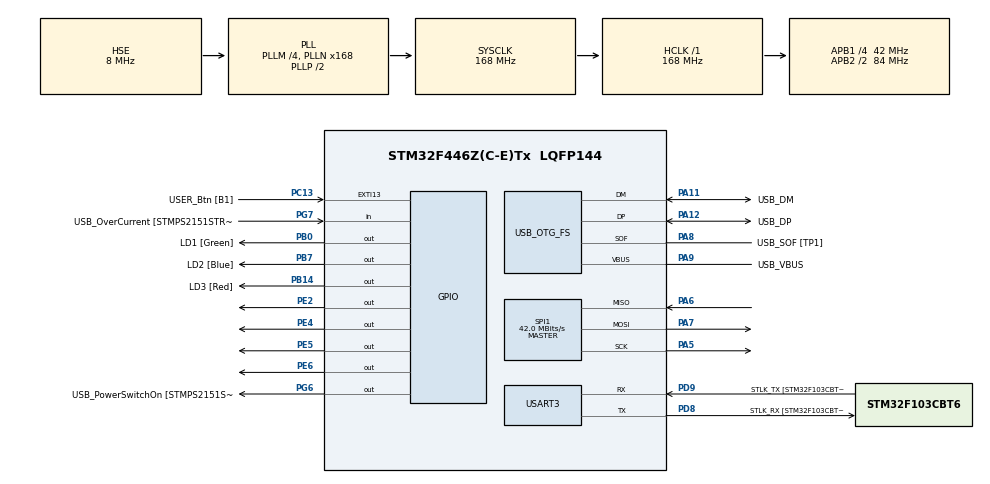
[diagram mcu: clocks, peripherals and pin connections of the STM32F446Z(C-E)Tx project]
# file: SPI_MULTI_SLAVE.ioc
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Dma.Request0=SPI1_RX
Dma.Request1=SPI1_TX
Dma.SPI1_RX.0.Direction=DMA_PERIPH_TO_MEMORY
Dma.SPI1_RX.0.FIFOMode=DMA_FIFOMODE_DISABLE
Dma.SPI1_RX.0.Instance=DMA2_Stream0
Dma.SPI1_RX.0.MemDataAlignment=DMA_MDATAALIGN_BYTE
Dma.SPI1_RX.0.MemInc=DMA_MINC_ENABLE
Dma.SPI1_RX.0.Mode=DMA_NORMAL
Dma.SPI1_RX.0.PeriphDataAlignment=DMA_PDATAALIGN_BYTE
Dma.SPI1_RX.0.PeriphInc=DMA_PINC_DISABLE
Dma.SPI1_RX.0.Priority=DMA_PRIORITY_LOW
Dma.SPI1_TX.1.Direction=DMA_MEMORY_TO_PERIPH
Dma.SPI1_TX.1.FIFOMode=DMA_FIFOMODE_DISABLE
Dma.SPI1_TX.1.Instance=DMA2_Stream3
Dma.SPI1_TX.1.MemDataAlignment=DMA_MDATAALIGN_BYTE
Dma.SPI1_TX.1.MemInc=DMA_MINC_ENABLE
Dma.SPI1_TX.1.Mode=DMA_NORMAL
Dma.SPI1_TX.1.PeriphDataAlignment=DMA_PDATAALIGN_BYTE
Dma.SPI1_TX.1.PeriphInc=DMA_PINC_DISABLE
Dma.SPI1_TX.1.Priority=DMA_PRIORITY_LOW
Mcu.Family=STM32F4
Mcu.Name=STM32F446Z(C-E)Tx
Mcu.Package=LQFP144
NVIC.DMA2_Stream0_IRQn=true\:0\:0\:false\:false\:true\:false\:true\:true
NVIC.DMA2_Stream3_IRQn=true\:0\:0\:false\:false\:true\:false\:true\:true
NVIC.PriorityGroup=NVIC_PRIORITYGROUP_4
PA10.GPIO_Label=USB_ID
PA10.Signal=USB_OTG_FS_ID
PA11.GPIO_Label=USB_DM
PA11.Mode=Device_Only
PA11.Signal=USB_OTG_FS_DM
PA12.GPIO_Label=USB_DP
PA12.Mode=Device_Only
PA12.Signal=USB_OTG_FS_DP
PA13.GPIO_Label=TMS
PA13.Mode=Serial_Wire
PA13.Signal=SYS_JTMS-SWDIO
PA14.GPIO_Label=TCK
PA14.Mode=Serial_Wire
PA14.Signal=SYS_JTCK-SWCLK
PA5.Mode=Full_Duplex_Master
PA5.Signal=SPI1_SCK
PA6.Mode=Full_Duplex_Master
PA6.Signal=SPI1_MISO
PA7.Mode=Full_Duplex_Master
PA7.Signal=SPI1_MOSI
PA8.GPIO_Label=USB_SOF [TP1]
PA8.Mode=Activate_SOF_FS
PA8.Signal=USB_OTG_FS_SOF
PA9.GPIO_Label=USB_VBUS
PA9.Mode=Activate_VBUS
PA9.Signal=USB_OTG_FS_VBUS
PB0.GPIO_Label=LD1 [Green]
PB0.Signal=GPIO_Output
PB14.GPIO_Label=LD3 [Red]
PB14.Signal=GPIO_Output
PB7.GPIO_Label=LD2 [Blue]
PB7.Signal=GPIO_Output
PC13.GPIO_Label=USER_Btn [B1]
PC13.Signal=GPXTI13
PC14-OSC32_IN.Mode=LSE-External-Oscillator
PC14-OSC32_IN.Signal=RCC_OSC32_IN
PC15-OSC32_OUT.Mode=LSE-External-Oscillator
PC15-OSC32_OUT.Signal=RCC_OSC32_OUT
PD8.GPIO_Label=STLK_RX [STM32F103CBT6_PA3]
PD8.Mode=Asynchronous
PD8.Signal=USART3_TX
PD9.GPIO_Label=STLK_TX [STM32F103CBT6_PA2]
PD9.Mode=Asynchronous
PD9.Signal=USART3_RX
PE2.Signal=GPIO_Output
PE4.Signal=GPIO_Output
PE5.Signal=GPIO_Output
PE6.Signal=GPIO_Output
PG6.GPIO_Label=USB_PowerSwitchOn [STMPS2151STR_EN]
PG6.Signal=GPIO_Output
PG7.GPIO_Label=USB_OverCurrent [STMPS2151STR_FAULT]
PG7.Signal=GPIO_Input
PH0-OSC_IN.GPIO_Label=MCO [STM32F103CBT6_PA8]
PH0-OSC_IN.Mode=HSE-External-Clock-Source
PH0-OSC_IN.Signal=RCC_OSC_IN
PH1-OSC_OUT.Mode=HSE-External-Clock-Source
PH1-OSC_OUT.Signal=RCC_OSC_OUT
ProjectManager.HeapSize=0x200
ProjectManager.StackSize=0x400
ProjectManager.TargetToolchain=STM32CubeIDE
RCC.48MHZClocksFreq_Value=24000000
RCC.AHBFreq_Value=168000000
RCC.APB1CLKDivider=RCC_HCLK_DIV4
RCC.APB1Freq_Value=42000000
RCC.APB1TimFreq_Value=84000000
RCC.APB2CLKDivider=RCC_HCLK_DIV2
RCC.APB2Freq_Value=84000000
RCC.APB2TimFreq_Value=168000000
RCC.CortexFreq_Value=168000000
RCC.HCLKFreq_Value=168000000
RCC.HSE_VALUE=8000000
RCC.HSI_VALUE=16000000
RCC.PLLM=4
RCC.PLLMUL=RCC_PLL_MUL9
RCC.PLLN=168
RCC.PLLQ=7
RCC.PRESCALERUSB=RCC_USBCLKSOURCE_PLL_DIV1_5
RCC.SYSCLKFreq_VALUE=168000000
RCC.SYSCLKSource=RCC_SYSCLKSOURCE_PLLCLK
RCC.SYSCLKSourceVirtual=RCC_SYSCLKSOURCE_PLLCLK
RCC.USBFreq_Value=48000000
RCC.VCOOutputFreq_Value=336000000
SPI1.CalculateBaudRate=42.0 MBits/s
SPI1.Direction=SPI_DIRECTION_2LINES
SPI1.Mode=SPI_MODE_MASTER
SPI1.VirtualType=VM_MASTER
USART3.VirtualMode=VM_ASYNC
USB_OTG_FS.VirtualMode=Device_Only
board=NUCLEO-F446ZE

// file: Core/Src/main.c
/* USER CODE BEGIN Header */
/**
  ******************************************************************************
  * @file           : main.c
  * @brief          : Main program body
  ******************************************************************************
  * @attention
  *
  * Copyright (c) 2025 STMicroelectronics.
  * All rights reserved.
  *
  * This software is licensed under terms that can be found in the LICENSE file
  * in the root directory of this software component.
  * If no LICENSE file comes with this software, it is provided AS-IS.
  *
  ******************************************************************************
  */
/* USER CODE END Header */
#include "main.h"

/* USER CODE BEGIN PD */

// SPI1 片选引脚：PE2 / PE4 / PE5 / PE6
#define SPI_CS_GPIO_PORT   GPIOE
#define SPI_CS1_PIN        GPIO_PIN_2   // Slave 1
#define SPI_CS2_PIN        GPIO_PIN_4   // Slave 2
#define SPI_CS3_PIN        GPIO_PIN_5   // Slave 3
#define SPI_CS4_PIN        GPIO_PIN_6   // Slave 4

typedef enum
{
    SPI_SLAVE_1 = 0,
    SPI_SLAVE_2,
    SPI_SLAVE_3,
    SPI_SLAVE_4
} spi_slave_t;

uint8_t txBuf[2] = {0x9a,0x9a};
uint8_t rxBuf = 0;

/* USER CODE END PD */

SPI_HandleTypeDef hspi1;
DMA_HandleTypeDef hdma_spi1_rx;
DMA_HandleTypeDef hdma_spi1_tx;

UART_HandleTypeDef huart3;

PCD_HandleTypeDef hpcd_USB_OTG_FS;

/* USER CODE BEGIN PV */

volatile uint8_t spi_busy        = 0;  // 1 = 正在进行 DMA 传输
volatile uint8_t spi_tx_done     = 0;  // 仅 TX 完成标志
volatile uint8_t spi_txrx_done   = 0;  // TX+RX 完成标志
spi_slave_t      spi_current_slave;    // 当前选中的从机

/* USER CODE END PV */

void SystemClock_Config(void);
static void MX_GPIO_Init(void);
static void MX_DMA_Init(void);
static void MX_USART3_UART_Init(void);
static void MX_USB_OTG_FS_PCD_Init(void);
static void MX_SPI1_Init(void);

/* USER CODE BEGIN 0 */

static void SPI_Deselect_All(void)
{
    HAL_GPIO_WritePin(SPI_CS_GPIO_PORT,
                      SPI_CS1_PIN | SPI_CS2_PIN | SPI_CS3_PIN | SPI_CS4_PIN,
                      GPIO_PIN_SET);
}

static void SPI_Select_Slave(spi_slave_t slave)
{
    SPI_Deselect_All();

    switch (slave)
    {
    case SPI_SLAVE_1:
        HAL_GPIO_WritePin(SPI_CS_GPIO_PORT, SPI_CS1_PIN, GPIO_PIN_RESET);
        break;
    case SPI_SLAVE_2:
        HAL_GPIO_WritePin(SPI_CS_GPIO_PORT, SPI_CS2_PIN, GPIO_PIN_RESET);
        break;
    case SPI_SLAVE_3:
        HAL_GPIO_WritePin(SPI_CS_GPIO_PORT, SPI_CS3_PIN, GPIO_PIN_RESET);
        break;
    case SPI_SLAVE_4:
        HAL_GPIO_WritePin(SPI_CS_GPIO_PORT, SPI_CS4_PIN, GPIO_PIN_RESET);
        break;
    default:
        break;
    }
}

HAL_StatusTypeDef SPI_Transfer_To_DMA(spi_slave_t slave,
                                      uint8_t *pTxData,
                                      uint8_t *pRxData,
                                      uint16_t Size)
{
    if (spi_busy)
        return HAL_BUSY;

    spi_busy        = 1;
    spi_tx_done     = 0;
    spi_txrx_done   = 0;
    spi_current_slave = slave;

    SPI_Select_Slave(slave);

    HAL_StatusTypeDef status =
        HAL_SPI_TransmitReceive_DMA(&hspi1, pTxData, pRxData, Size);

    if (status != HAL_OK)
    {
        SPI_Deselect_All();
        spi_busy = 0;
    }

    return status;
}

void HAL_SPI_TxRxCpltCallback(SPI_HandleTypeDef *hspi)
{
    if (hspi->Instance == SPI1)
    {
        SPI_Deselect_All();
        spi_busy      = 0;
        spi_txrx_done = 1;

        // 先关掉所有灯
        HAL_GPIO_WritePin(GPIOB, LD1_Pin | LD2_Pin | LD3_Pin, GPIO_PIN_RESET);

        // 用当前从机编号来点灯，先不管 rxBuf 收到了什么
        if (spi_current_slave == SPI_SLAVE_1)
        {
            // 从机1 → 绿灯
            HAL_GPIO_WritePin(GPIOB, LD1_Pin, GPIO_PIN_SET);
        }
        else if (spi_current_slave == SPI_SLAVE_2)
        {
            // 从机2 → 蓝灯
            HAL_GPIO_WritePin(GPIOB, LD2_Pin, GPIO_PIN_SET);
        }
        else
        {
            // 其他（理论上现在不会发生）→ 红灯
            HAL_GPIO_WritePin(GPIOB, LD3_Pin, GPIO_PIN_SET);
        }
    }
}

// 错误处理（比如溢出、仲裁丢失等）
void HAL_SPI_ErrorCallback(SPI_HandleTypeDef *hspi)
{
    if (hspi->Instance == SPI1)
    {
        SPI_Deselect_All();
        spi_busy      = 0;
        spi_tx_done   = 0;
        spi_txrx_done = 0;
    }
}

/* USER CODE END 0 */

int main(void)
{

  /* MCU Configuration--------------------------------------------------------*/

  /* Reset of all peripherals, Initializes the Flash interface and the Systick. */
  HAL_Init();

  /* Configure the system clock */
  SystemClock_Config();

  /* Initialize all configured peripherals */
  MX_GPIO_Init();
  MX_DMA_Init();
  MX_USART3_UART_Init();
  MX_USB_OTG_FS_PCD_Init();
  MX_SPI1_Init();
  /* USER CODE BEGIN 2 */

  SPI_Deselect_All();

  /* USER CODE END 2 */

  /* Infinite loop */
  /* USER CODE BEGIN WHILE */
  spi_slave_t current_slave = SPI_SLAVE_1;   // 从机轮询用
  uint8_t     value_index   = 0;

  while (1)
  {
      if (!spi_busy)
      {
//    	  SPI_Transfer_To_DMA(current_slave, &txBuf[value_index], &rxBuf, 1) == HAL_OK;

          // ====== 发起 DMA ======
          if (SPI_Transfer_To_DMA(current_slave, &txBuf[value_index], &rxBuf, 1) == HAL_OK)
          {
              while (!spi_txrx_done) {}

              spi_txrx_done = 0;

              // ====== 切换 Slave ======
              switch (current_slave)
              {
              case SPI_SLAVE_1:
                  current_slave = SPI_SLAVE_2;
                  break;
              case SPI_SLAVE_2:
                  current_slave = SPI_SLAVE_3;
                  break;
              case SPI_SLAVE_3:
                  current_slave = SPI_SLAVE_4;
                  break;
              case SPI_SLAVE_4:
                  current_slave = SPI_SLAVE_1;
                  value_index ^= 1;
                  break;

              }

          }

          HAL_Delay(1000);
      }
  }
  /* USER CODE END 3 */
}

void SystemClock_Config(void)
{
  RCC_OscInitTypeDef RCC_OscInitStruct = {0};
  RCC_ClkInitTypeDef RCC_ClkInitStruct = {0};

  /** Configure the main internal regulator output voltage
  */
  __HAL_RCC_PWR_CLK_ENABLE();
  __HAL_PWR_VOLTAGESCALING_CONFIG(PWR_REGULATOR_VOLTAGE_SCALE1);

  /** Initializes the RCC Oscillators according to the specified parameters
  * in the RCC_OscInitTypeDef structure.
  */
  RCC_OscInitStruct.OscillatorType = RCC_OSCILLATORTYPE_HSE;
  RCC_OscInitStruct.HSEState = RCC_HSE_BYPASS;
  RCC_OscInitStruct.PLL.PLLState = RCC_PLL_ON;
  RCC_OscInitStruct.PLL.PLLSource = RCC_PLLSOURCE_HSE;
  RCC_OscInitStruct.PLL.PLLM = 4;
  RCC_OscInitStruct.PLL.PLLN = 168;
  RCC_OscInitStruct.PLL.PLLP = RCC_PLLP_DIV2;
  RCC_OscInitStruct.PLL.PLLQ = 7;
  RCC_OscInitStruct.PLL.PLLR = 2;
  if (HAL_RCC_OscConfig(&RCC_OscInitStruct) != HAL_OK)
  {
    Error_Handler();
  }

  /** Initializes the CPU, AHB and APB buses clocks
  */
  RCC_ClkInitStruct.ClockType = RCC_CLOCKTYPE_HCLK|RCC_CLOCKTYPE_SYSCLK
                              |RCC_CLOCKTYPE_PCLK1|RCC_CLOCKTYPE_PCLK2;
  RCC_ClkInitStruct.SYSCLKSource = RCC_SYSCLKSOURCE_PLLCLK;
  RCC_ClkInitStruct.AHBCLKDivider = RCC_SYSCLK_DIV1;
  RCC_ClkInitStruct.APB1CLKDivider = RCC_HCLK_DIV4;
  RCC_ClkInitStruct.APB2CLKDivider = RCC_HCLK_DIV2;

  if (HAL_RCC_ClockConfig(&RCC_ClkInitStruct, FLASH_LATENCY_5) != HAL_OK)
  {
    Error_Handler();
  }
}

static void MX_SPI1_Init(void)
{

  /* SPI1 parameter configuration*/
  hspi1.Instance = SPI1;
  hspi1.Init.Mode = SPI_MODE_MASTER;
  hspi1.Init.Direction = SPI_DIRECTION_2LINES;
  hspi1.Init.DataSize = SPI_DATASIZE_8BIT;
  hspi1.Init.CLKPolarity = SPI_POLARITY_LOW;
  hspi1.Init.CLKPhase = SPI_PHASE_1EDGE;
  hspi1.Init.NSS = SPI_NSS_SOFT;
  hspi1.Init.BaudRatePrescaler = SPI_BAUDRATEPRESCALER_16;
  hspi1.Init.FirstBit = SPI_FIRSTBIT_MSB;
  hspi1.Init.TIMode = SPI_TIMODE_DISABLE;
  hspi1.Init.CRCCalculation = SPI_CRCCALCULATION_DISABLE;
  hspi1.Init.CRCPolynomial = 10;
  if (HAL_SPI_Init(&hspi1) != HAL_OK)
  {
    Error_Handler();
  }

}

static void MX_USART3_UART_Init(void)
{

  huart3.Instance = USART3;
  huart3.Init.BaudRate = 115200;
  huart3.Init.WordLength = UART_WORDLENGTH_8B;
  huart3.Init.StopBits = UART_STOPBITS_1;
  huart3.Init.Parity = UART_PARITY_NONE;
  huart3.Init.Mode = UART_MODE_TX_RX;
  huart3.Init.HwFlowCtl = UART_HWCONTROL_NONE;
  huart3.Init.OverSampling = UART_OVERSAMPLING_16;
  if (HAL_UART_Init(&huart3) != HAL_OK)
  {
    Error_Handler();
  }

}

static void MX_USB_OTG_FS_PCD_Init(void)
{

  hpcd_USB_OTG_FS.Instance = USB_OTG_FS;
  hpcd_USB_OTG_FS.Init.dev_endpoints = 6;
  hpcd_USB_OTG_FS.Init.speed = PCD_SPEED_FULL;
  hpcd_USB_OTG_FS.Init.dma_enable = DISABLE;
  hpcd_USB_OTG_FS.Init.phy_itface = PCD_PHY_EMBEDDED;
  hpcd_USB_OTG_FS.Init.Sof_enable = ENABLE;
  hpcd_USB_OTG_FS.Init.low_power_enable = DISABLE;
  hpcd_USB_OTG_FS.Init.lpm_enable = DISABLE;
  hpcd_USB_OTG_FS.Init.vbus_sensing_enable = ENABLE;
  hpcd_USB_OTG_FS.Init.use_dedicated_ep1 = DISABLE;
  if (HAL_PCD_Init(&hpcd_USB_OTG_FS) != HAL_OK)
  {
    Error_Handler();
  }

}

static void MX_DMA_Init(void)
{

  /* DMA controller clock enable */
  __HAL_RCC_DMA2_CLK_ENABLE();

  /* DMA interrupt init */
  /* DMA2_Stream0_IRQn interrupt configuration */
  HAL_NVIC_SetPriority(DMA2_Stream0_IRQn, 0, 0);
  HAL_NVIC_EnableIRQ(DMA2_Stream0_IRQn);
  /* DMA2_Stream3_IRQn interrupt configuration */
  HAL_NVIC_SetPriority(DMA2_Stream3_IRQn, 0, 0);
  HAL_NVIC_EnableIRQ(DMA2_Stream3_IRQn);

}

static void MX_GPIO_Init(void)
{
  GPIO_InitTypeDef GPIO_InitStruct = {0};

  /* GPIO Ports Clock Enable */
  __HAL_RCC_GPIOE_CLK_ENABLE();
  __HAL_RCC_GPIOC_CLK_ENABLE();
  __HAL_RCC_GPIOH_CLK_ENABLE();
  __HAL_RCC_GPIOA_CLK_ENABLE();
  __HAL_RCC_GPIOB_CLK_ENABLE();
  __HAL_RCC_GPIOD_CLK_ENABLE();
  __HAL_RCC_GPIOG_CLK_ENABLE();

  /*Configure GPIO pin Output Level */
  HAL_GPIO_WritePin(GPIOE, GPIO_PIN_2|GPIO_PIN_4|GPIO_PIN_5|GPIO_PIN_6, GPIO_PIN_SET);

  /*Configure GPIO pin Output Level */
  HAL_GPIO_WritePin(GPIOB, LD1_Pin|LD3_Pin|LD2_Pin, GPIO_PIN_RESET);

  /*Configure GPIO pin Output Level */
  HAL_GPIO_WritePin(USB_PowerSwitchOn_GPIO_Port, USB_PowerSwitchOn_Pin, GPIO_PIN_RESET);

  /*Configure GPIO pins : PE2 PE4 PE5 PE6 */
  GPIO_InitStruct.Pin = GPIO_PIN_2|GPIO_PIN_4|GPIO_PIN_5|GPIO_PIN_6;
  GPIO_InitStruct.Mode = GPIO_MODE_OUTPUT_PP;
  GPIO_InitStruct.Pull = GPIO_NOPULL;
  GPIO_InitStruct.Speed = GPIO_SPEED_FREQ_LOW;
  HAL_GPIO_Init(GPIOE, &GPIO_InitStruct);

  /*Configure GPIO pin : USER_Btn_Pin */
  GPIO_InitStruct.Pin = USER_Btn_Pin;
  GPIO_InitStruct.Mode = GPIO_MODE_IT_RISING;
  GPIO_InitStruct.Pull = GPIO_NOPULL;
  HAL_GPIO_Init(USER_Btn_GPIO_Port, &GPIO_InitStruct);

  /*Configure GPIO pins : LD1_Pin LD3_Pin LD2_Pin */
  GPIO_InitStruct.Pin = LD1_Pin|LD3_Pin|LD2_Pin;
  GPIO_InitStruct.Mode = GPIO_MODE_OUTPUT_PP;
  GPIO_InitStruct.Pull = GPIO_NOPULL;
  GPIO_InitStruct.Speed = GPIO_SPEED_FREQ_LOW;
  HAL_GPIO_Init(GPIOB, &GPIO_InitStruct);

  /*Configure GPIO pin : USB_PowerSwitchOn_Pin */
  GPIO_InitStruct.Pin = USB_PowerSwitchOn_Pin;
  GPIO_InitStruct.Mode = GPIO_MODE_OUTPUT_PP;
  GPIO_InitStruct.Pull = GPIO_NOPULL;
  GPIO_InitStruct.Speed = GPIO_SPEED_FREQ_LOW;
  HAL_GPIO_Init(USB_PowerSwitchOn_GPIO_Port, &GPIO_InitStruct);

  /*Configure GPIO pin : USB_OverCurrent_Pin */
  GPIO_InitStruct.Pin = USB_OverCurrent_Pin;
  GPIO_InitStruct.Mode = GPIO_MODE_INPUT;
  GPIO_InitStruct.Pull = GPIO_NOPULL;
  HAL_GPIO_Init(USB_OverCurrent_GPIO_Port, &GPIO_InitStruct);

}

void Error_Handler(void)
{
  __disable_irq();
  while (1)
  {
  }
}
